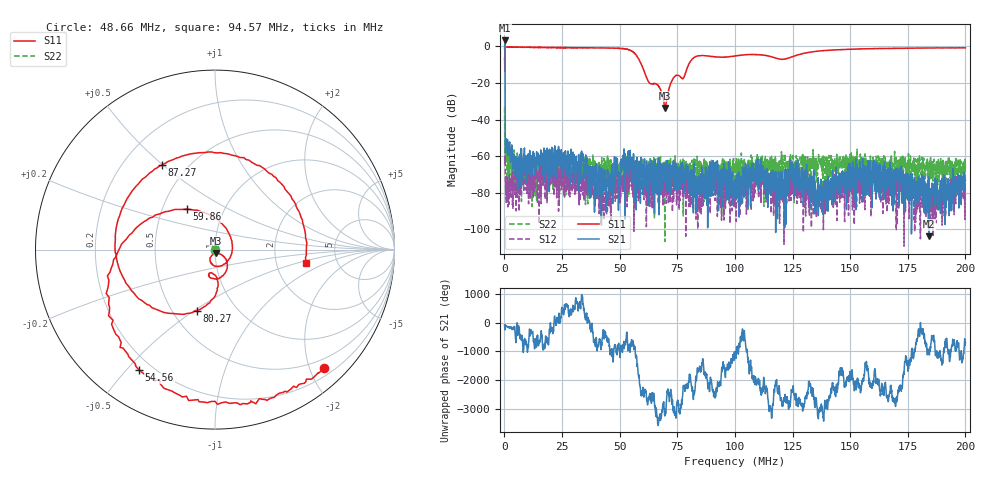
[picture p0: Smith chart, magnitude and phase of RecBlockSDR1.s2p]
! 19-Feb-26 2:10:33 PM
! E:\VNA_MEASUREMENTS\RECBLOCK\RECBLOCKSDR1.S2P
! CHANNEL.1
! TR.MEASUREMENT
! CORRECTED.DATA
# GHZ S RI R 50.0
! FREQ.GHZ  S11RE  S11IM  S21RE  S21IM  S12RE  S12IM  S22RE  S22IM
!; PortSelection: Port_12
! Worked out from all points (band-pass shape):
!   2000 points, 50 kHz to 200 MHz, reference 50 ohm
!   highest |S21| = 3.30 dB at 150 kHz (marker M1); lowest = -104.1 dB at 184.2 MHz (marker M2)
!   |S21| within 3 dB of the highest: 83.65 kHz to 254.4 kHz (170.8 kHz wide, 101 % of centre)
!   lowest |S11| = -33.7 dB at 69.77 MHz (marker M3), VSWR 1.04, Z = 50.4 - j2.03 ohm
!   |S11| at or under -10 dB: 100 kHz to 179.4 kHz (79.42 kHz wide, 56.8 % of centre); 59.46 MHz to 79.86 MHz (20.4 MHz wide, 29.3 % of centre)
!   |S22| runs from -106.8 to -33.4 dB; largest |S21 - S12| = 1.5
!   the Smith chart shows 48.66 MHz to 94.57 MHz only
!   S11 on the Smith chart (normalised r, x): 48.66 MHz: 0.33, -2.25; 54.56 MHz: 0.15, -0.54; 59.86 MHz: 0.66, +0.33; 80.27 MHz: 0.66, -0.51; 87.27 MHz: 0.36, +0.50; 94.57 MHz: 2.94, -0.61
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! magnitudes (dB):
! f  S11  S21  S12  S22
! 50 kHz  -6.4  -1.2  -61.3  -33.4
! 150 kHz  -13.6  3.3  -64.0  -55.0
! 1.35 MHz  -0.2  -50.9  -74.9  -56.2
! 5.451 MHz  -0.3  -71.5  -74.2  -77.6
! 20.86 MHz  -0.5  -61.2  -74.4  -69.2
! 33.46 MHz  -0.7  -57.3  -79.3  -63.4
! 41.06 MHz  -0.8  -71.2  -91.6  -63.8
! 48.66 MHz  -0.9  -61.1  -70.8  -73.5
! 54.56 MHz  -2.0  -56.9  -74.3  -73.9
! 59.86 MHz  -11.2  -67.6  -80.9  -68.2
! 66.77 MHz  -21.6  -65.2  -86.2  -67.9
! 69.77 MHz  -33.7  -66.3  -75.0  -65.3
! 73.17 MHz  -17.5  -65.6  -79.7  -65.4
! 80.27 MHz  -9.0  -75.9  -76.0  -64.6
! 87.27 MHz  -5.1  -66.0  -75.7  -62.7
! 94.57 MHz  -5.8  -71.9  -73.2  -61.0
! 100.1 MHz  -5.2  -72.7  -79.4  -69.0
! 110.5 MHz  -4.5  -67.7  -75.3  -63.1
! 133.4 MHz  -3.0  -73.7  -78.3  -66.0
! 166.7 MHz  -1.1  -73.8  -74.0  -63.4
! 184.2 MHz  -0.8  -104.1  -83.8  -65.1
! 200 MHz  -0.8  -73.6  -79.0  -67.1
